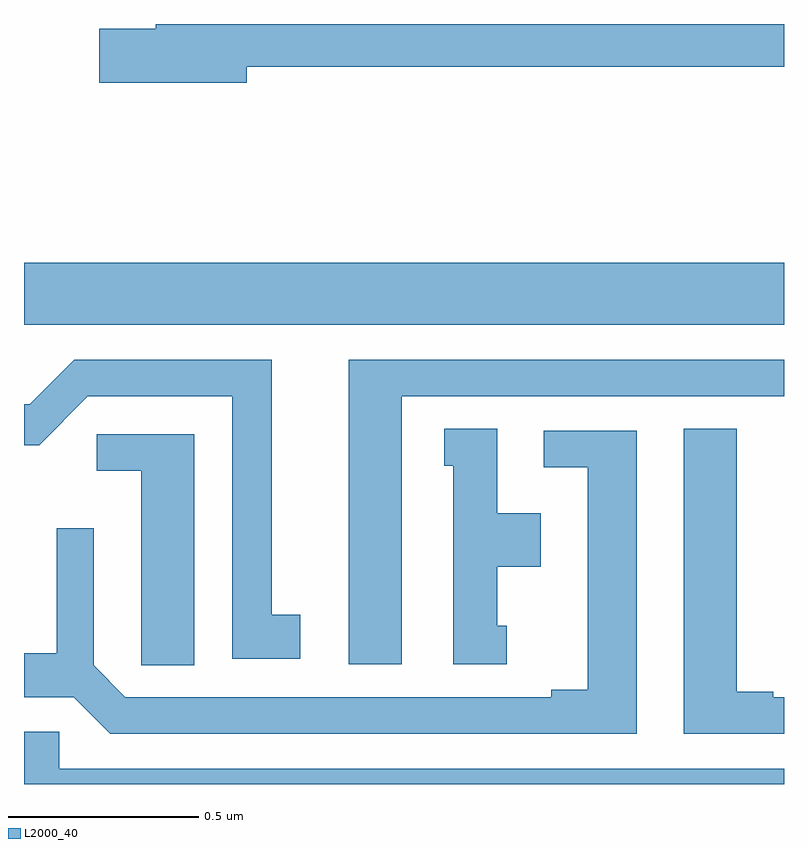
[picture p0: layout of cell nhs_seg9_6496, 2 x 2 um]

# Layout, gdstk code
import gdstk
lib = gdstk.Library(unit=1e-6, precision=1e-09)
def R(c, l, rs):  # rectangles x0, y0, x1, y1
    for r in rs: c.add(gdstk.rectangle(r[:2], r[2:], *l))
def P(c, l, *ps):  # polygons
    for p in ps: c.add(gdstk.Polygon(p, *l))
L2000_40 = (2000, 40)

nhs_seg9_6496 = lib.new_cell('nhs_seg9_6496')
R(nhs_seg9_6496, L2000_40, [(192,1241.708,194,1241.872)])
P(nhs_seg9_6496, L2000_40, [(192.586,1242.388),(194,1242.388),(194,1242.5),(192.347,1242.5),(192.347,1242.488),(192.198,1242.488),(192.198,1242.346),(192.586,1242.346)],
  [(192.727,1240.946),(192.652,1240.946),(192.652,1241.616),(192.132,1241.616),(192.015,1241.499),(192,1241.499),(192,1241.392),(192.04,1241.392),(192.168,1241.52),(192.548,1241.52),(192.548,1240.83),(192.727,1240.83)],
  [(192.994,1241.52),(194,1241.52),(194,1241.616),(192.854,1241.616),(192.854,1240.815),(192.994,1240.815)],
  [(193.27,1240.917),(193.246,1240.917),(193.246,1241.072),(193.36,1241.072),(193.36,1241.212),(193.246,1241.212),(193.246,1241.435),(193.106,1241.435),(193.106,1241.337),(193.13,1241.337),(193.13,1240.815),(193.27,1240.815)],
  [(194,1240.728),(193.972,1240.728),(193.972,1240.743),(193.876,1240.743),(193.876,1241.435),(193.736,1241.435),(193.736,1240.632),(194,1240.632)],
  [(193.612,1241.43),(193.368,1241.43),(193.368,1241.334),(193.484,1241.334),(193.484,1240.748),(193.388,1240.748),(193.388,1240.728),(192.267,1240.728),(192.183,1240.812),(192.183,1241.173),(192.086,1241.173),(192.086,1240.844),(192,1240.844),(192,1240.728),(192.131,1240.728),(192.227,1240.632),(193.612,1240.632)],
  [(192.448,1241.421),(192.192,1241.421),(192.192,1241.324),(192.308,1241.324),(192.308,1240.921),(192.309,1240.921),(192.309,1240.813),(192.448,1240.813)],
  [(194,1240.54),(192.093,1240.54),(192.093,1240.638),(192,1240.638),(192,1240.5),(194,1240.5)])

lib.write_gds('nhs_seg9_6496.gds')
